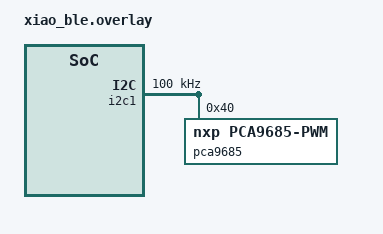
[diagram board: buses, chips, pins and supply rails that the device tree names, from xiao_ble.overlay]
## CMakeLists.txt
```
# SPDX-License-Identifier: Apache-2.0

cmake_minimum_required(VERSION 3.20.0)

find_package(Zephyr REQUIRED HINTS $ENV{ZEPHYR_BASE})
project(legctrl_fw)

target_sources(app PRIVATE 
	src/main.c
	src/ble_service.c
)
```

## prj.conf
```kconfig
# SPDX-License-Identifier: Apache-2.0

# Enable logging
CONFIG_LOG=y
CONFIG_LOG_DEFAULT_LEVEL=3
CONFIG_PRINTK=y
CONFIG_EARLY_CONSOLE=y

# Enable serial console
CONFIG_SERIAL=y
CONFIG_CONSOLE=y
CONFIG_UART_CONSOLE=y

# Main stack size
CONFIG_MAIN_STACK_SIZE=2048

# I2C support
CONFIG_I2C=y

# PWM support
CONFIG_PWM=y

# PCA9685 PWM driver
CONFIG_PWM_PCA9685=y

# BLE support
CONFIG_BT=y
CONFIG_BT_PERIPHERAL=y
CONFIG_BT_DEVICE_NAME="LegCtrl"
CONFIG_BT_DEVICE_APPEARANCE=0

# GATT support
CONFIG_BT_GATT_DYNAMIC_DB=y

# ATT MTU
CONFIG_BT_L2CAP_TX_MTU=23
CONFIG_BT_BUF_ACL_RX_SIZE=27
CONFIG_BT_BUF_ACL_TX_SIZE=27

# Connection parameters
CONFIG_BT_MAX_CONN=1
CONFIG_BT_MAX_PAIRED=1

# Workqueue support
CONFIG_SYSTEM_WORKQUEUE_STACK_SIZE=2048
```

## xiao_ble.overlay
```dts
/*
 * SPDX-License-Identifier: Apache-2.0
 *
 * Device Tree Overlay for xiao_ble (XIAO nRF52840)
 * Adds PCA9685 PWM controller on I2C bus
 */

#include <zephyr/dt-bindings/i2c/i2c.h>

/ {
	aliases {
		pwm-0 = &pca9685;
	};
};

&i2c1 {
	status = "okay";
	clock-frequency = <I2C_BITRATE_STANDARD>; /* 100kHz */

	pca9685: pca9685@40 {
		compatible = "nxp,pca9685-pwm";
		reg = <0x40>;
		status = "okay";
		
		/* PWM configuration for servo control
		 * Frequency: 50Hz (20ms period) for standard servos
		 * #pwm-cells: <2> per Zephyr binding (channel, period)
		 */
		#pwm-cells = <2>;
	};
};
```

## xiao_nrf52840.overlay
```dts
/*
 * SPDX-License-Identifier: Apache-2.0
 *
 * Device Tree Overlay for XIAO nRF52840
 * Adds PCA9685 PWM controller on I2C bus
 */

#include <zephyr/dt-bindings/i2c/i2c.h>

/ {
	aliases {
		pwm-0 = &pca9685;
	};
};

&i2c1 {
	status = "okay";
	clock-frequency = <I2C_BITRATE_STANDARD>; /* 100kHz */

	pca9685: pca9685@40 {
		compatible = "nxp,pca9685-pwm";
		reg = <0x40>;
		status = "okay";
		
		/* PWM configuration for servo control
		 * Frequency: 50Hz (20ms period) for standard servos
		 */
		#pwm-cells = <3>;
	};
};
```

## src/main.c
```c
/*
 * SPDX-License-Identifier: Apache-2.0
 *
 * LegCtrl Firmware - Main Entry Point
 * XIAO nRF52840 - Zephyr RTOS
 */

#include <zephyr/kernel.h>
#include <version.h>
#include <zephyr/logging/log.h>
#include <zephyr/drivers/pwm.h>
#include <zephyr/device.h>

#include "ble_service.h"

LOG_MODULE_REGISTER(main, LOG_LEVEL_INF);

/* PCA9685 PWM device */
#define PWM_DEV_NODE DT_NODELABEL(pca9685)

/* Servo PWM parameters
 * Standard servo PWM: 50Hz (20ms period)
 * Pulse width range: 1000-2000μs (typ. for 180° servos)
 * Safe initial value: 1500μs (center position)
 */
#define SERVO_PWM_PERIOD_NS    (20000000U)  /* 20ms = 20,000,000ns */
#define SERVO_PULSE_MIN_NS     (1000000U)   /* 1000μs = 1,000,000ns */
#define SERVO_PULSE_MAX_NS     (2000000U)   /* 2000μs = 2,000,000ns */
#define SERVO_PULSE_CENTER_NS  (1500000U)   /* 1500μs = 1,500,000ns (safe initial) */

/* Servo channel 0 */
#define SERVO_CHANNEL_0        0

/* Telemetry timer period (10 Hz = 100 ms) */
#define TELEMETRY_PERIOD_MS    100

/* Telemetry timer */
static void telemetry_timer_handler(struct k_timer *timer);
K_TIMER_DEFINE(telemetry_timer, telemetry_timer_handler, NULL);

/* Telemetry timer handler */
static void telemetry_timer_handler(struct k_timer *timer)
{
	ARG_UNUSED(timer);
	
	/* Update deadman timer */
	ble_service_update_deadman();
	
	/* Send telemetry */
	ble_service_send_telemetry();
}

int main(void)
{
	const struct device *pwm_dev;
	int ret;

	LOG_INF("===========================================");
	LOG_INF("LegCtrl Firmware - XIAO nRF52840");
	LOG_INF("===========================================");
	LOG_INF("Zephyr version: %s", KERNEL_VERSION_STRING);
	LOG_INF("Board: %s", CONFIG_BOARD);

	/* Initialize PCA9685 PWM controller */
	pwm_dev = DEVICE_DT_GET(PWM_DEV_NODE);
	if (!device_is_ready(pwm_dev)) {
		LOG_ERR("PCA9685 PWM device is not ready");
		return -1;
	}
	LOG_INF("PCA9685 PWM device ready");

	/* Set servo channel 0 to safe center position (1500μs)
	 * This prevents sudden movement on startup
	 * 
	 * pwm_set parameters:
	 * - device: PWM device
	 * - channel: PWM channel (0-15 for PCA9685)
	 * - period: PWM period in nanoseconds (20ms = 20,000,000ns for 50Hz)
	 * - pulse: Pulse width in nanoseconds (1500μs = 1,500,000ns)
	 * - flags: PWM polarity flags (0 for normal polarity)
	 */
	ret = pwm_set(pwm_dev, SERVO_CHANNEL_0, 
		      SERVO_PWM_PERIOD_NS, SERVO_PULSE_CENTER_NS, 
		      0);

	if (ret < 0) {
		LOG_ERR("Failed to set PWM for servo channel 0: %d", ret);
		return -1;
	}

	LOG_INF("Servo channel 0 initialized:");
	LOG_INF("  - PWM frequency: 50Hz (period: 20ms)");
	LOG_INF("  - Pulse width: 1500us (center position)");
	LOG_INF("  - Safe range: 1000-2000us");
	
	/* Initialize BLE service */
	ret = ble_service_init();
	if (ret) {
		LOG_ERR("BLE service initialization failed: %d", ret);
		return -1;
	}
	
	LOG_INF("BLE service initialized");
	
	/* Start telemetry timer (10 Hz) */
	k_timer_start(&telemetry_timer, K_MSEC(TELEMETRY_PERIOD_MS), 
		      K_MSEC(TELEMETRY_PERIOD_MS));
	LOG_INF("Telemetry timer started (10 Hz)");
	
	LOG_INF("System started successfully");
	LOG_INF("===========================================");

	/* Main loop */
	while (1) {
		k_sleep(K_SECONDS(5));
		LOG_INF("Heartbeat: State=%u, Error=%u, LastCmdAge=%u ms",
			ble_service_get_state(),
			ble_service_get_error_code(),
			ble_service_get_last_cmd_age_ms());
	}
}
```

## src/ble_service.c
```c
/*
 * SPDX-License-Identifier: Apache-2.0
 *
 * BLE Service Implementation - LegCtrl Protocol
 */

#include <zephyr/kernel.h>
#include <zephyr/bluetooth/bluetooth.h>
#include <zephyr/bluetooth/conn.h>
#include <zephyr/bluetooth/gatt.h>
#include <zephyr/bluetooth/uuid.h>
#include <zephyr/logging/log.h>
#include <zephyr/drivers/pwm.h>
#include <zephyr/device.h>

#include "ble_service.h"

LOG_MODULE_REGISTER(ble_service, LOG_LEVEL_INF);

/* PCA9685 PWM device */
#define PWM_DEV_NODE DT_NODELABEL(pca9685)

/* Servo PWM parameters */
#define SERVO_PWM_PERIOD_NS    (20000000U)  /* 20ms = 20,000,000ns */
#define SERVO_PULSE_MIN_NS     (500000U)    /* 500μs */
#define SERVO_PULSE_MAX_NS     (2500000U)   /* 2500μs */
#define SERVO_PULSE_CENTER_NS  (1500000U)   /* 1500μs */

/* Servo channel */
#define SERVO_CHANNEL_0        0

/* Deadman timeout (ms) */
#define DEADMAN_TIMEOUT_MS     200

/* Service UUID: 12345678-1234-1234-1234-123456789abc */
#define BT_UUID_LEGCTRL_SERVICE \
	BT_UUID_DECLARE_128( \
		0xbc, 0x9a, 0x78, 0x56, 0x34, 0x12, 0x34, 0x12, \
		0x34, 0x12, 0x34, 0x12, 0x78, 0x56, 0x34, 0x12)

/* Command Characteristic UUID: 12345678-1234-1234-1234-123456789abd */
#define BT_UUID_LEGCTRL_CMD \
	BT_UUID_DECLARE_128( \
		0xbd, 0x9a, 0x78, 0x56, 0x34, 0x12, 0x34, 0x12, \
		0x34, 0x12, 0x34, 0x12, 0x78, 0x56, 0x34, 0x12)

/* Telemetry Characteristic UUID: 12345678-1234-1234-1234-123456789abe */
#define BT_UUID_LEGCTRL_TELEMETRY \
	BT_UUID_DECLARE_128( \
		0xbe, 0x9a, 0x78, 0x56, 0x34, 0x12, 0x34, 0x12, \
		0x34, 0x12, 0x34, 0x12, 0x78, 0x56, 0x34, 0x12)

/* System state */
static struct {
	uint8_t state;
	uint8_t error_code;
	int64_t last_cmd_timestamp;
	bool telemetry_enabled;
	struct bt_conn *conn;
} sys_state = {
	.state = STATE_DISARMED,
	.error_code = ERR_NONE,
	.last_cmd_timestamp = 0,
	.telemetry_enabled = false,
	.conn = NULL,
};

/* Workqueue for command processing */
static struct k_work_q cmd_work_q;
static K_THREAD_STACK_DEFINE(cmd_work_q_stack, 1024);

/* Command work item */
struct cmd_work_item {
	struct k_work work;
	uint8_t msg_type;
	uint8_t data[8];  /* Max payload size */
	uint8_t data_len;
};

static struct cmd_work_item cmd_work;

/* Mutex to protect cmd_work from concurrent access */
static K_MUTEX_DEFINE(cmd_work_mutex);

/* PWM device */
static const struct device *pwm_dev;

/* Forward declarations */
static void cmd_work_handler(struct k_work *work);
static void process_cmd_arm(void);
static void process_cmd_disarm(void);
static void process_cmd_set_servo_ch0(uint16_t pulse_us);
static void process_cmd_ping(void);

/* Connection callbacks */
static void connected(struct bt_conn *conn, uint8_t err)
{
	if (err) {
		LOG_ERR("Connection failed (err %u)", err);
		return;
	}

	LOG_INF("BLE Connected");
	sys_state.conn = bt_conn_ref(conn);
	
	/* Reset to DISARMED on new connection */
	sys_state.state = STATE_DISARMED;
	sys_state.error_code = ERR_NONE;
	sys_state.last_cmd_timestamp = 0;
}

static void disconnected(struct bt_conn *conn, uint8_t reason)
{
	LOG_INF("BLE Disconnected (reason %u)", reason);
	
	if (sys_state.conn) {
		bt_conn_unref(sys_state.conn);
		sys_state.conn = NULL;
	}
	
	/* Go to FAULT state on disconnect and stop PWM output */
	sys_state.state = STATE_FAULT;
	sys_state.error_code = ERR_NONE;
	sys_state.telemetry_enabled = false;
	
	/* Stop PWM output to ensure safe shutdown on disconnect */
	if (pwm_dev && device_is_ready(pwm_dev)) {
		int ret = pwm_set(pwm_dev, SERVO_CHANNEL_0, SERVO_PWM_PERIOD_NS, 0, 0);
		if (ret != 0) {
			LOG_ERR("Failed to stop PWM on disconnect (err %d)", ret);
		}
	}
}

BT_CONN_CB_DEFINE(conn_callbacks) = {
	.connected = connected,
	.disconnected = disconnected,
};

/* Command characteristic write callback */
static ssize_t cmd_write(struct bt_conn *conn, const struct bt_gatt_attr *attr,
			 const void *buf, uint16_t len, uint16_t offset, uint8_t flags)
{
	const uint8_t *data = buf;
	
	LOG_HEXDUMP_INF(data, len, "CMD received:");
	
	/* Validate minimum header size */
	if (len < sizeof(struct protocol_header)) {
		LOG_ERR("Command too short: %u bytes", len);
		return BT_GATT_ERR(BT_ATT_ERR_INVALID_ATTRIBUTE_LEN);
	}
	
	struct protocol_header *hdr = (struct protocol_header *)data;
	
	/* Validate version */
	if (hdr->version != 0x01) {
		LOG_ERR("Invalid version: 0x%02x", hdr->version);
		return BT_GATT_ERR(BT_ATT_ERR_VALUE_NOT_ALLOWED);
	}
	
	/* Validate payload length */
	if (len != sizeof(struct protocol_header) + hdr->payload_len) {
		LOG_ERR("Payload length mismatch: expected %u, got %u",
			sizeof(struct protocol_header) + hdr->payload_len, len);
		return BT_GATT_ERR(BT_ATT_ERR_INVALID_ATTRIBUTE_LEN);
	}
	
	/* Validate payload fits in work item buffer */
	if (hdr->payload_len > sizeof(cmd_work.data)) {
		LOG_ERR("Payload too large: %u bytes (max %u)", 
			hdr->payload_len, (uint8_t)sizeof(cmd_work.data));
		return BT_GATT_ERR(BT_ATT_ERR_INVALID_ATTRIBUTE_LEN);
	}
	
	/* Acquire mutex to protect cmd_work from concurrent access */
	if (k_mutex_lock(&cmd_work_mutex, K_NO_WAIT) != 0) {
		LOG_WRN("Command busy, dropping new command");
		return BT_GATT_ERR(BT_ATT_ERR_UNLIKELY);
	}
	
	/* Queue command for processing in workqueue */
	cmd_work.msg_type = hdr->msg_type;
	cmd_work.data_len = hdr->payload_len;
	
	if (hdr->payload_len > 0) {
		memcpy(cmd_work.data, data + sizeof(struct protocol_header), 
		       hdr->payload_len);
	}
	
	k_work_submit_to_queue(&cmd_work_q, &cmd_work.work);
	/* Note: mutex will be released in cmd_work_handler after processing */
	
	return len;
}

/* Telemetry CCC changed callback */
static void telemetry_ccc_changed(const struct bt_gatt_attr *attr, uint16_t value)
{
	sys_state.telemetry_enabled = (value == BT_GATT_CCC_NOTIFY);
	LOG_INF("Telemetry notifications %s", 
		sys_state.telemetry_enabled ? "enabled" : "disabled");
}

/* GATT Service definition */
BT_GATT_SERVICE_DEFINE(legctrl_svc,
	BT_GATT_PRIMARY_SERVICE(BT_UUID_LEGCTRL_SERVICE),
	
	/* Command Characteristic */
	BT_GATT_CHARACTERISTIC(BT_UUID_LEGCTRL_CMD,
			       BT_GATT_CHRC_WRITE | BT_GATT_CHRC_WRITE_WITHOUT_RESP,
			       BT_GATT_PERM_WRITE,
			       NULL, cmd_write, NULL),
	
	/* Telemetry Characteristic */
	BT_GATT_CHARACTERISTIC(BT_UUID_LEGCTRL_TELEMETRY,
			       BT_GATT_CHRC_NOTIFY,
			       BT_GATT_PERM_NONE,
			       NULL, NULL, NULL),
	BT_GATT_CCC(telemetry_ccc_changed, BT_GATT_PERM_READ | BT_GATT_PERM_WRITE),
);

/* Index of telemetry characteristic value attribute in legctrl_svc.attrs[] */
#define TELEMETRY_ATTR_IDX 4

/* Command work handler - runs in workqueue context */
static void cmd_work_handler(struct k_work *work)
{
	struct cmd_work_item *item = CONTAINER_OF(work, struct cmd_work_item, work);
	
	LOG_INF("Processing command: msg_type=0x%02x", item->msg_type);
	
	switch (item->msg_type) {
	case MSG_TYPE_CMD_ARM:
		process_cmd_arm();
		break;
		
	case MSG_TYPE_CMD_DISARM:
		process_cmd_disarm();
		break;
		
	case MSG_TYPE_CMD_SET_SERVO_CH0:
		if (item->data_len == sizeof(struct cmd_set_servo_ch0)) {
			/* Extract pulse_us with explicit little-endian handling */
			uint16_t pulse_us = (uint16_t)item->data[0] | 
					    ((uint16_t)item->data[1] << 8);
			process_cmd_set_servo_ch0(pulse_us);
		} else {
			LOG_ERR("Invalid SET_SERVO_CH0 payload length: %u", item->data_len);
		}
		break;
		
	case MSG_TYPE_CMD_PING:
		process_cmd_ping();
		break;
		
	default:
		LOG_ERR("Unknown command: 0x%02x", item->msg_type);
		sys_state.error_code = ERR_INVALID_CMD;
		break;
	}
	
	/* Release mutex after processing command */
	k_mutex_unlock(&cmd_work_mutex);
}

/* Process ARM command */
static void process_cmd_arm(void)
{
	LOG_INF("CMD_ARM");
	
	if (sys_state.state == STATE_DISARMED) {
		sys_state.state = STATE_ARMED;
		sys_state.error_code = ERR_NONE;
		sys_state.last_cmd_timestamp = k_uptime_get();
		LOG_INF("State: ARMED");
	} else if (sys_state.state == STATE_FAULT) {
		LOG_WRN("Cannot ARM from FAULT state. Send DISARM first to clear fault.");
	}
}

/* Process DISARM command */
static void process_cmd_disarm(void)
{
	LOG_INF("CMD_DISARM");
	
	sys_state.state = STATE_DISARMED;
	sys_state.error_code = ERR_NONE;
	sys_state.last_cmd_timestamp = 0;
	
	/* Stop PWM output */
	if (pwm_dev && device_is_ready(pwm_dev)) {
		int ret = pwm_set(pwm_dev, SERVO_CHANNEL_0, SERVO_PWM_PERIOD_NS, 0, 0);
		if (ret < 0) {
			LOG_ERR("Failed to stop servo output (err %d)", ret);
		} else {
			LOG_INF("Servo output stopped");
		}
	}
	
	LOG_INF("State: DISARMED");
}

/* Process SET_SERVO_CH0 command */
static void process_cmd_set_servo_ch0(uint16_t pulse_us)
{
	LOG_INF("CMD_SET_SERVO_CH0: pulse_us=%u", pulse_us);
	
	/* Only process in ARMED state */
	if (sys_state.state != STATE_ARMED) {
		LOG_WRN("Command ignored - not in ARMED state");
		return;
	}
	
	/* Update last command timestamp */
	sys_state.last_cmd_timestamp = k_uptime_get();
	
	/* Clamp pulse width to safe range */
	if (pulse_us < 500) {
		LOG_WRN("Pulse width %u us clamped to 500 us", pulse_us);
		pulse_us = 500;
	} else if (pulse_us > 2500) {
		LOG_WRN("Pulse width %u us clamped to 2500 us", pulse_us);
		pulse_us = 2500;
	}
	
	/* Set PWM */
	if (pwm_dev && device_is_ready(pwm_dev)) {
		uint32_t pulse_ns = pulse_us * 1000U;
		int ret = pwm_set(pwm_dev, SERVO_CHANNEL_0, 
				  SERVO_PWM_PERIOD_NS, pulse_ns, 0);
		
		if (ret < 0) {
			LOG_ERR("Failed to set PWM: %d", ret);
			sys_state.state = STATE_FAULT;
			sys_state.error_code = ERR_I2C_FAULT;
		} else {
			LOG_INF("Servo set to %u us", pulse_us);
		}
	}
}

/* Process PING command */
static void process_cmd_ping(void)
{
	LOG_DBG("CMD_PING");
	
	/* Only update timestamp in ARMED state */
	if (sys_state.state == STATE_ARMED) {
		sys_state.last_cmd_timestamp = k_uptime_get();
	}
}

/* Send telemetry notification */
int ble_service_send_telemetry(void)
{
	if (!sys_state.telemetry_enabled || !sys_state.conn) {
		return -ENOTCONN;
	}
	
	struct telemetry_msg msg;
	
	/* Fill header */
	msg.hdr.version = 0x01;
	msg.hdr.msg_type = MSG_TYPE_TELEMETRY;
	msg.hdr.payload_len = sizeof(struct telemetry_payload);
	msg.hdr.reserved = 0x00;
	
	/* Fill payload with explicit little-endian encoding */
	msg.payload.state = sys_state.state;
	msg.payload.error_code = sys_state.error_code;
	
	uint16_t last_cmd_age = ble_service_get_last_cmd_age_ms();
	msg.payload.last_cmd_age_ms = last_cmd_age;  /* Little-endian on nRF52 */
	
	/* Battery voltage - v0.1 stub implementation
	 * 
	 * Current implementation: Fixed value of 7400 mV (7.4V)
	 * This represents the nominal voltage of a 2S LiPo battery.
	 * 
	 * Future implementation: Replace with actual ADC reading
	 * - ADC channel for battery voltage divider
	 * - Apply appropriate scaling factor
	 * - Implement low-pass filtering for stable readings
	 * 
	 * See: shared/protocol/spec/legctrl_protocol.md for specification details
	 */
	uint16_t battery = 7400;  /* Stub: 7400 mV = 7.4V (2S LiPo nominal) */
	msg.payload.battery_mv = battery;  /* Little-endian on nRF52 */
	
	msg.payload.reserved = 0;
	
	/* Send notification */
	int ret = bt_gatt_notify(sys_state.conn, &legctrl_svc.attrs[TELEMETRY_ATTR_IDX], 
				 &msg, sizeof(msg));
	
	if (ret < 0) {
		LOG_ERR("Failed to send telemetry: %d", ret);
		return ret;
	}
	
	LOG_DBG("Telemetry sent: state=%u, error=%u, age=%u ms",
		msg.payload.state, msg.payload.error_code, msg.payload.last_cmd_age_ms);
	
	return 0;
}

/* Get current system state */
uint8_t ble_service_get_state(void)
{
	return sys_state.state;
}

/* Get current error code */
uint8_t ble_service_get_error_code(void)
{
	return sys_state.error_code;
}

/* Get time since last command */
uint16_t ble_service_get_last_cmd_age_ms(void)
{
	if (sys_state.last_cmd_timestamp == 0) {
		return 0;
	}
	
	int64_t age = k_uptime_get() - sys_state.last_cmd_timestamp;
	
	/* Clamp to uint16_t max */
	if (age > 65535) {
		return 65535;
	}
	
	return (uint16_t)age;
}

/* Update deadman timer */
void ble_service_update_deadman(void)
{
	/* Only check deadman in ARMED state */
	if (sys_state.state != STATE_ARMED) {
		return;
	}
	
	uint16_t age_ms = ble_service_get_last_cmd_age_ms();
	
	if (age_ms >= DEADMAN_TIMEOUT_MS) {
		LOG_WRN("Deadman timeout: %u ms >= %u ms", age_ms, DEADMAN_TIMEOUT_MS);
		sys_state.state = STATE_FAULT;
		sys_state.error_code = ERR_DEADMAN_TIMEOUT;
		
		/* Stop PWM output */
		if (pwm_dev && device_is_ready(pwm_dev)) {
			int ret = pwm_set(pwm_dev, SERVO_CHANNEL_0, SERVO_PWM_PERIOD_NS, 0, 0);
			if (ret != 0) {
				LOG_ERR("Failed to stop servo output (err %d)", ret);
			} else {
				LOG_INF("Servo output stopped due to deadman timeout");
			}
		}
	}
}

/* Advertising data */
static const struct bt_data ad[] = {
	BT_DATA_BYTES(BT_DATA_FLAGS, (BT_LE_AD_GENERAL | BT_LE_AD_NO_BREDR)),
	BT_DATA_BYTES(BT_DATA_UUID128_ALL,
		      0xbc, 0x9a, 0x78, 0x56, 0x34, 0x12, 0x34, 0x12,
		      0x34, 0x12, 0x34, 0x12, 0x78, 0x56, 0x34, 0x12),
};

/* Initialize BLE service */
int ble_service_init(void)
{
	int ret;
	
	/* Get PWM device */
	pwm_dev = DEVICE_DT_GET(PWM_DEV_NODE);
	if (!device_is_ready(pwm_dev)) {
		LOG_ERR("PCA9685 PWM device is not ready");
		return -ENODEV;
	}
	LOG_INF("PWM device ready");
	
	/* Initialize workqueue */
	k_work_queue_init(&cmd_work_q);
	k_work_queue_start(&cmd_work_q, cmd_work_q_stack,
			   K_THREAD_STACK_SIZEOF(cmd_work_q_stack),
			   K_PRIO_PREEMPT(5), NULL);
	
	/* Initialize command work item */
	k_work_init(&cmd_work.work, cmd_work_handler);
	
	/* Enable Bluetooth */
	ret = bt_enable(NULL);
	if (ret) {
		LOG_ERR("Bluetooth init failed (err %d)", ret);
		return ret;
	}
	LOG_INF("Bluetooth initialized");
	
	/* Start advertising */
	ret = bt_le_adv_start(BT_LE_ADV_CONN_NAME, ad, ARRAY_SIZE(ad), NULL, 0);
	if (ret) {
		LOG_ERR("Advertising failed to start (err %d)", ret);
		return ret;
	}
	LOG_INF("BLE advertising started");
	LOG_INF("Device name: %s", CONFIG_BT_DEVICE_NAME);
	
	return 0;
}
```

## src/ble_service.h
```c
/*
 * SPDX-License-Identifier: Apache-2.0
 *
 * BLE Service - LegCtrl Protocol
 * Service UUID: 12345678-1234-1234-1234-123456789abc
 * Command Characteristic: 12345678-1234-1234-1234-123456789abd (Write)
 * Telemetry Characteristic: 12345678-1234-1234-1234-123456789abe (Notify)
 */

#ifndef BLE_SERVICE_H
#define BLE_SERVICE_H

#include <zephyr/types.h>

/* Protocol message types */
#define MSG_TYPE_CMD_ARM           0x01
#define MSG_TYPE_CMD_DISARM        0x02
#define MSG_TYPE_CMD_SET_SERVO_CH0 0x03
#define MSG_TYPE_CMD_PING          0x04
#define MSG_TYPE_TELEMETRY         0x10

/* System states */
#define STATE_DISARMED 0x00
#define STATE_ARMED    0x01
#define STATE_FAULT    0x02

/* Error codes */
#define ERR_NONE              0x00
#define ERR_DEADMAN_TIMEOUT   0x01
#define ERR_LOW_BATTERY       0x02
#define ERR_I2C_FAULT         0x03
#define ERR_INVALID_CMD       0x04
#define ERR_UNKNOWN           0xFF

/* Protocol header */
struct protocol_header {
	uint8_t version;
	uint8_t msg_type;
	uint8_t payload_len;
	uint8_t reserved;
} __packed;

/* Command payloads */
struct cmd_set_servo_ch0 {
	uint16_t pulse_us;
} __packed;

/* Telemetry payload */
struct telemetry_payload {
	uint8_t state;
	uint8_t error_code;
	uint16_t last_cmd_age_ms;
	uint16_t battery_mv;
	uint16_t reserved;
} __packed;

/* Full telemetry message */
struct telemetry_msg {
	struct protocol_header hdr;
	struct telemetry_payload payload;
} __packed;

/**
 * @brief Initialize BLE service
 * @return 0 on success, negative errno on failure
 */
int ble_service_init(void);

/**
 * @brief Send telemetry notification
 * @return 0 on success, negative errno on failure
 */
int ble_service_send_telemetry(void);

/**
 * @brief Get current system state
 * @return Current state (STATE_DISARMED, STATE_ARMED, STATE_FAULT)
 */
uint8_t ble_service_get_state(void);

/**
 * @brief Get current error code
 * @return Current error code
 */
uint8_t ble_service_get_error_code(void);

/**
 * @brief Get time since last command (ms)
 * @return Time in milliseconds
 */
uint16_t ble_service_get_last_cmd_age_ms(void);

/**
 * @brief Update deadman timer (called periodically)
 */
void ble_service_update_deadman(void);

#endif /* BLE_SERVICE_H */
```
